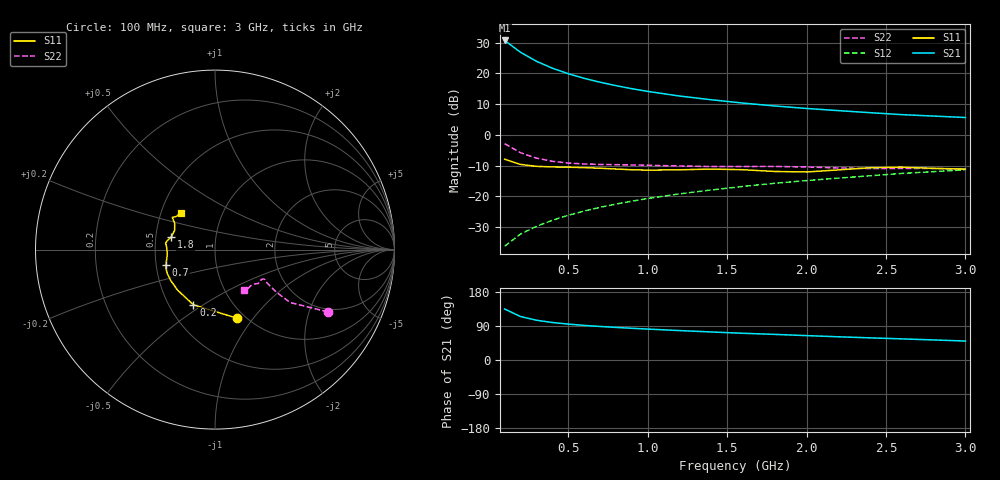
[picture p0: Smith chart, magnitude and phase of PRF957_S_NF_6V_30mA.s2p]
! Philips part #:  PRF957  Date:  Nov 1998
! Bias condition:  Vce=6V, Ic=30mA
#  MHz  S  MA  R 50
! Freq  S11  S21  S12  S22
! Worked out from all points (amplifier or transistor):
!   20 points, 100 MHz to 3 GHz, reference 50 ohm
!   highest |S21| = 30.7 dB at 100 MHz (marker M1)
!   |S21| within 3 dB of that: start of sweep to 178.3 MHz
!   unconditionally stable (mu >= 1): 675.2 MHz to end of sweep
!   at 400 MHz: K = 0.93, MSG = 24.7 dB, |S12| = -27.8 dB
!   at 1.2 GHz: K = 1.04, MAG = 14.6 dB, |S12| = -19.2 dB
!   at 3 GHz: K = 1.03, MAG = 7.5 dB, |S12| = -11.4 dB
!   lowest NFmin = 1.85 dB at 500 MHz
!   S11 on the Smith chart (normalised r, x): 100 MHz: 0.92, -0.84; 200 MHz: 0.66, -0.46; 700 MHz: 0.56, -0.11; 1.8 GHz: 0.60, +0.09; 3 GHz: 0.64, +0.28
100  0.4018 -72.1  34.14 134.6  0.01552 69.2  0.7185 -28.9
200  0.3303 -111.4  21.97 114.7  0.02442 67.9  0.5122 -35.1
300  0.3074 -132.6  15.68 105.0  0.03251 70.3  0.4182 -34.8
400  0.301 -145.0  12.11 98.9  0.04079 72.4  0.3719 -33.6
500  0.2978 -152.8  9.842 94.7  0.0492 74.1  0.3482 -32.8
600  0.2933 -158.1  8.292 91.3  0.05774 75.2  0.336 -32.3
700  0.2864 -162.4  7.163 88.5  0.0663 76.0  0.3302 -31.9
800  0.2783 -166.6  6.304 86.0  0.07492 76.5  0.3271 -31.5
900  0.2708 -171.0  5.62 83.7  0.08353 77.0  0.3241 -31.1
1000  0.2668 -175.6  5.078 81.6  0.09228 77.1  0.3207 -30.9
1200  0.2702 176.7  4.272 77.7  0.1098 77.1  0.3117 -31.6
1400  0.2777 172.4  3.716 74.0  0.1271 76.8  0.3057 -34.0
1600  0.271 169.6  3.28 70.5  0.145 76.4  0.3062 -36.5
1800  0.2539 164.1  2.943 67.6  0.1633 75.7  0.3067 -38.0
2000  0.249 154.6  2.681 64.4  0.1807 75.1  0.3006 -39.2
2200  0.2691 146.6  2.475 61.2  0.1979 74.4  0.2895 -41.8
2400  0.2923 143.7  2.289 58.4  0.2161 73.5  0.283 -45.8
2600  0.2978 142.8  2.129 55.8  0.2359 72.4  0.2844 -49.5
2800  0.2848 139.8  2.016 52.9  0.2523 71.8  0.2843 -51.6
3000  0.2777 132.3  1.912 50.0  0.2701 71.1  0.2764 -53.5
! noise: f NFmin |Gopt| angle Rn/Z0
500  1.85  0.08  -161  0.26
800  2.19  0.23  171  0.08
900  2.22  0.26  163  0.1
1000  2.28  0.18  141  0.2
1500  2.2  0.39  143  0.15
2000  2.57  0.34  -139  0.23
